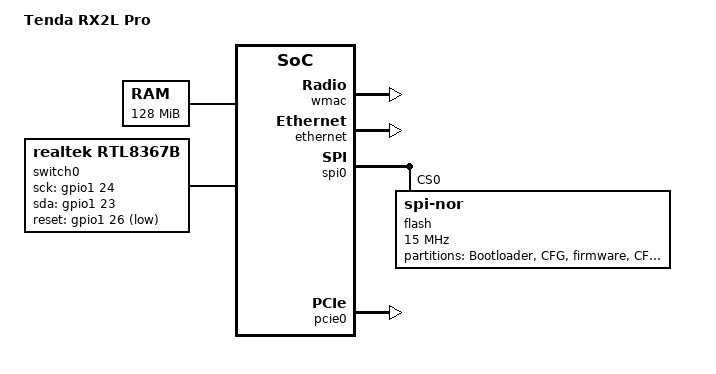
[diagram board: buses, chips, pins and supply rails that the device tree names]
// SPDX-License-Identifier: GPL-2.0
/*
 * Tenda RX2L Pro (label "RX2LProV1.0", internal board name AX2_PRO_V2)
 * Realtek RTL8197F, MIPS 24Kc little-endian.
 *
 * VARIANT A of two: kernel 6.18 / target linux/rtl819x (base "A", the
 * openwrt-rx23302 tree) with the EXTERNAL gigabit switch driven by the
 * swconfig driver drivers/net/phy/rtl8367b.c.
 *
 * The sibling file rtl8197f_tenda_rx2lpro_dsa66.dts describes the same board
 * for the 6.6 / DSA route (base "B", tobyw121/Openwrt_RTL). Pick one; they are
 * mutually exclusive because the gpio cell numbering and the LAN/WAN naming in
 * /etc/config/network differ. See gpio-numbering.md and
 * switch-driver-analysis.md in this directory.
 *
 * ---------------------------------------------------------------------------
 * EVIDENCE FOR EVERY NUMBER BELOW (all from dumps of THIS unit, no sibling
 * board was copied):
 *
 *   /tmp/rx_dump/pulled/info.txt        cmdline "console=ttyS0,115200
 *                                       root=/dev/mtdblock4", /proc/mtd,
 *                                       /proc/partitions, "spi:m25p80"
 *   /tmp/rx_dump/flash/mtdlayout.txt    per-mtd name/size/offset in DECIMAL
 *                                       from /sys/class/mtd/mtdN (name, size,
 *                                       offset) -- the partition table below
 *   /tmp/rx_dump/logs/syslog/sys_info.log:370
 *                                       MemTotal 115744 kB -> 128 MiB
 *   /tmp/rx_dump/logs/syslog/sys_info.log:496-512
 *                                       /proc/interrupts: "4 MIPS eth0",
 *                                       "5 MIPS rtk_wifi6", "6 MIPS wlan1"
 *   /tmp/rx_dump/flash/mtd2_CFG.bin     TENDA.lan_mac= at +0x22d, its 17-byte
 *                                       ASCII value at +0x23b
 *   /tmp/rx_dump/rootfs/x/etc_ro/gpio_conf
 *                                       green LED gpio_id 54, red LED
 *                                       gpio_id 57, reset+wps button gpio_id 33
 *   /tmp/rx_dump/rootfs/x/etc_ro/eth_to_port_config.txt, .../default.cfg,
 *   /tmp/rx_dump/RouterCfm.cfg          jack -> switch port map, lanvlan 1
 *                                       0x15d 0x40, wanvlan1 2 0x142 0x40,
 *                                       cpu1.phyid=6, cpu2.phyid=8
 *   /tmp/work4/uboot_gz.bin +0x6a68/+0x6c34
 *                                       our own U-Boot ORs 0x03300000 into the
 *                                       mux register at 0xB8000034 (the SMI
 *                                       pin mux; same encoding as toby's
 *                                       "pinctrl-single,bits = <0x34 0x03300000
 *                                       0x0ff00000>")
 * ---------------------------------------------------------------------------
 */

/dts-v1/;

#include "RTL8197F.dtsi"

#include <dt-bindings/gpio/gpio.h>
#include <dt-bindings/input/input.h>

/ {
	/*
	 * The FIRST string here becomes /tmp/sysinfo/board_name on this base
	 * (package/base-files/files/lib/preinit/02_sysinfo: `strings
	 * /proc/device-tree/compatible | head -1`), and that is what the
	 * board.d scripts and the upgrade path match on:
	 *   - etc/board.d/02_network: interfaces + the per-unit MAC read out of
	 *     the CFG partition;
	 *   - lib/upgrade/platform.sh: the "cr6c" magic gate before a sysupgrade.
	 * Change this string and both silently stop matching -- the MAC would
	 * never be set and the image check would fall through to "accept
	 * anything". There is no realtek_board_detect() on this base any more
	 * (the 4.14 target wrote board_name from /proc/cpuinfo; nothing calls it
	 * now), so the DTS is the single source of truth.
	 * model = "Tenda RX2L Pro" above is only cosmetic (/tmp/sysinfo/model).
	 */
	compatible = "tenda,rx2l-pro", "tenda,ax2-pro-v2", "realtek,rtl8197f-soc";
	model = "Tenda RX2L Pro";

	aliases {
		serial0 = &serial0;
	};

	/*
	 * 128 MiB. Measured, not inherited: stock /proc/meminfo says
	 * MemTotal 115744 kB, which is 128 MiB minus the kernel's own
	 * reservations (SDMA/phytd buffers, page tables, kmsg). Do NOT write
	 * 0x7000000 here because 115744 kB looks like 113 MiB -- that number is
	 * what is left over, not what is on the board. The neighbouring
	 * RTL8197F designs (RX23302, AC23) ship 64 MiB; this one does not, and
	 * taking their value would halve our RAM for nothing.
	 */
	memory@0 {
		device_type = "memory";
		reg = <0x0 0x8000000>;
	};

	chosen {
		/*
		 * console=ttyS0,115200 -- read straight off this board's
		 * /proc/cmdline (info.txt). 115200, not the 38400 the
		 * RX23302 base uses.
		 *
		 * root= is deliberately NOT set: stock passes
		 * root=/dev/mtdblock4 and OpenWrt finds its squashfs through
		 * mtdsplit instead. Carrying the stock root= over would pin us
		 * to a mtd index that our own partition node changes.
		 *
		 * Hardware NAT is deliberately NOT armed from the command line
		 * either (no `hwnat=1`): on this SoC family enabling the ASIC
		 * path before the tables are warm breaks the datapath, so it is
		 * armed from userspace after the switch comes up.
		 */
		bootargs = "console=ttyS0,115200";
		stdout-path = "serial0:115200n8";
	};

	/*
	 * -----------------------------------------------------------------
	 * LEDs and keys are DELIBERATELY left out and both children are
	 * status = "disabled". Read gpio-numbering.md before enabling them.
	 *
	 * Stock /etc_ro/gpio_conf drives them through the vendor
	 * /sys/devices/virtual/misc/ugw_gpio/gpio_base/ catalog and names the
	 * lines by the vendor BSP_GPIO index, which is NOT the number the
	 * kernel gpio chip in this base uses:
	 *
	 *   green "sys" LED   gpio_index 0  gpio_id 54   -> H? see below
	 *   red LED           gpio_index 7  gpio_id 57   -> PEFGH bit 25
	 *   reset button      gpio_index 32 gpio_id 33   -> PEFGH bit 1
	 *   wps button        gpio_index 33 gpio_id 33   -> PEFGH bit 1 (same!)
	 *
	 * The decoded mapping (proof chain in gpio-numbering.md) is
	 * line = port*8 + pin with A=0..H=7, and this base splits that space
	 * into two 32-line chips: line < 32 -> &gpio0 <line>, line >= 32 ->
	 * &gpio1 <line - 32>. So 54 -> &gpio1 22 (G6), 57 -> &gpio1 25 (H1),
	 * 33 -> &gpio1 1 (E1).
	 *
	 * Two things must be true before these nodes are switched on:
	 *   1. 54/57 are outputs of the vendor LED *pattern* engine
	 *      (freq/pattern/start), i.e. the hardware blinks them; a plain
	 *      gpio-leds node takes the line over and the stock timer effect
	 *      disappears. That is acceptable, but it means the stock values
	 *      only prove the lines are outputs, never their polarity. Assume
	 *      ACTIVE_LOW (both RX23302 and AC23 Tenda boards use active-low
	 *      LEDs on this SoC) and confirm with a multimeter or by watching
	 *      the lamp before trusting default-state = "on".
	 *   2. Line 33 (port E1) is not a free GPIO pad by default. The
	 *      RX23302 note for the same line reads "пин E1 не отдаётся без
	 *      pinmux" -- E1 stays on its peripheral function until the sysc
	 *      mux register says otherwise, and we do not know which mux field
	 *      covers it. Enabling this node blind can therefore do nothing at
	 *      all, or steal a peripheral.
	 *
	 * And the real reason for "disabled": on the reference board an LED
	 * node on the wrong pin held the external switch in reset. Getting
	 * the switch up matters more than getting the lamps up.
	 * -----------------------------------------------------------------
	 */
	leds: leds {
		compatible = "gpio-leds";
		status = "disabled";

		// Kept as the intended shape, commented so nothing probes it.
		// Line numbers are the vendor BSP_GPIO index from gpio_conf;
		// the cell values are this base's numbering.
		//
		// led_green: sys {
		//         label = "green:status";
		//         gpios = <&gpio1 22 GPIO_ACTIVE_LOW>;   // line 54
		//         default-state = "on";
		// };
		// led_red: red {
		//         label = "red:internet";
		//         gpios = <&gpio1 25 GPIO_ACTIVE_LOW>;   // line 57
		// };
	};

	keys: keys {
		compatible = "gpio-keys-polled";
		poll-interval = <20>;
		status = "disabled";

		// Stock registers ONE physical line (gpio_id 33, port E1) under
		// two catalog slots, reset_btn at index 32 and wps_btn at index
		// 33, with different act_time (80 vs 5). That is the classic
		// Tenda combined Reset/WPS button: short press = WPS, long
		// press = reset. One device tree button, not two.
		//
		//         reset {
		//                 label = "reset";
		//                 gpios = <&gpio1 1 GPIO_ACTIVE_LOW>;  // line 33, E1
		//                 linux,code = <KEY_RESTART>;
		//                 debounce-interval = <60>;
		//         };
		//
		// Polled, not interrupt-driven: the interrupt path of this
		// gpio chip is untested on RTL8197F (the RX23302 board says the
		// same), and gpio-keys-polled cannot be wrong about an edge.
	};

	/*
	 * On-SoC 2.4 GHz WMAC. This base's RTL8197F.dtsi has no wmac node (the
	 * RX23302 board does not use it), so it is declared here at the vendor
	 * address BSP_WLAN_BASE 0xB8064000 -> cached 0x18640000.
	 *
	 * IRQ 6 is measured on THIS board, not borrowed: /proc/interrupts shows
	 *   "6: 4711710 MIPS 6 wlan1"
	 * and stock calls its 2.4 GHz interface wlan1 (the 5 GHz RTL8832BR is
	 * wlan0 on IRQ 5). Note that is the reverse of the comment in
	 * files/target/linux/realtek/base-files/etc/board.d/02_network, which
	 * assigns CFG+0x5a5 wlan0_mac to 2.4 GHz; CFG+0x5a5 is
	 * ...:C4 and the live EasyMesh report in kmsg calls ...:C4 the 5gMac,
	 * so wlan0 = 5 GHz and wlan1 = 2.4 GHz. Flagged in REPORT.md for the
	 * usersland track.
	 */
	wmac: wifi@18640000 {
		compatible = "realtek,rtl8197f-wmac";
		reg = <0x18640000 0x40000>;
		interrupt-parent = <&cpuintc>;
		interrupts = <6>;
		/*
		 * Enabled because it is harmless either way: with no driver
		 * bound to this compatible nothing happens, and the 6.18
		 * rtl8192fe HAL that the base uses for 2.4 GHz claims the radio
		 * by PCI ID (10ec:818c / f192 / 8193 / 8179 / f812) rather than
		 * by of_match, so this node is the address/IRQ bookkeeping that
		 * the HAL will want when it grows a DT path.
		 */
		status = "okay";
	};

	/*
	 * =====================================================================
	 * External gigabit switch, swconfig route (rtl8367b.c, "switch0").
	 * =====================================================================
	 *
	 * WHAT WE KNOW ABOUT OUR CHIP
	 * Our U-Boot carries the vendor Switch v1.4 SDK with the strings
	 * "8367C" and "8367D" and the calls
	 *   rtk_port_rgmiiDelayExt_set(logical_cpu_port, TX_DELAY, RX_DELAY)
	 *   rtk_port_macForceLinkExt_set(logical_cpu_port, mode, &mac_cfg)
	 *   rtk_cpu_tagPort_set(logical_cpu_port, CPU_INSERT_TO_NONE)
	 * so the CPU trunk is an *external interface* (EXTIF), not a GPHY, and
	 * the exact silicon is still not settled offline. rtl8367b.c tells us
	 * apart at runtime by reading register 0x1300 (chip number) and 0x1301
	 * (chip version) after poking the magic 0x0249 into 0x13c2:
	 *
	 *   ver 0x1000          -> 8367RB      ver 0x1010 -> 8367R-VB
	 *   num 0x6367 ver 0x0020 -> 8367RB-VB num 0x6367 ver 0x00A0 -> 8367S
	 *   num 0x6642 ver 0x0010 -> 8367S-VB  num 0x6642 ver 0x0030 -> 8367D
	 *
	 * SMI LINES
	 * MDC = SDK H0, MDIO = SDK G7, reset = H2. Those are vendor lines
	 * 56/55/58, and in this base's two-chip numbering they are &gpio1
	 * 24/23/26 -- exactly what the RX23302 board, which has the same SMI
	 * wiring verified on hardware, uses. Our own U-Boot writes 0x03300000
	 * into the mux register at 0xB8000034, which is the same pin-mux
	 * programming the sibling Tenda boards encode as
	 * <0x34 0x03300000 0x0ff00000>; this base has no pinctrl-single driver
	 * and its gpio driver clears the CNR bit itself, so the property is
	 * carried below as inert documentation (see the note on
	 * realtek,smi-pinmux-bits) rather than as a fake pinctrl node.
	 *
	 * CPU PORT
	 * Port 6. Proof from stock userspace, not from a neighbour's board:
	 * every VLAN line in default.cfg carries the untagged mask 0x40 = bit
	 * 6 -- lanvlan "1 0x15d 0x40", wanvlan1 "2 0x142 0x40" -- and
	 * RouterCfm.cfg states cpu1.phyid=6 (cpu2.phyid=8 is the SoC's own
	 * rtl865x CPU interface). For rtl8367b.c, RTL8367B_CPU_PORT_NUM is 5,
	 * so cpu_port 6 selects EXTIF1, which is also what the toby AC23 board
	 * concludes from the same 0x40 descriptor bit.
	 */
	switch0: switch {
		compatible = "realtek,rtl8367b";

		/* Bit-banged SMI on the gpio lines above. ACTIVE_HIGH is
		 * correct here: these are driven as raw open-drain-ish clock
		 * and data lines by rtl8366_smi.c with gpiod_set_raw_value(),
		 * so the polarity handle is only a direction hint. */
		sck-gpios = <&gpio1 24 GPIO_ACTIVE_HIGH>;	/* line 56, H0, MDC */
		sda-gpios = <&gpio1 23 GPIO_ACTIVE_HIGH>;	/* line 55, G7, MDIO */
		reset-gpios = <&gpio1 26 GPIO_ACTIVE_LOW>;	/* line 58, H2, ~RESET */

		realtek,cpu-port = <6>;

		/* Inert documentation of the vendor pin mux, see the note
		 * above. On the 6.6/DSA variant this becomes a real
		 * &pinmux + pinctrl-0 property that the driver consumes.
		 */
		realtek,smi-pinmux-bits = <0x34 0x03300000 0x0ff00000>;

		/*
		 * Required by rtl8367b.c on every chip EXCEPT RTL8367D:
		 * rtl8367b_extif_init_of() reads "realtek,extif" and fails with
		 * -EINVAL if it is absent or is not exactly 10 cells. Order is
		 *   <cpu_port txdelay rxdelay mode force_mode txpause rxpause
		 *    link duplex speed>
		 * with mode 1 = RTL8367_EXTIF_MODE_RGMII, speed 2 = 1000 Mbps
		 * (RTL8367_PORT_SPEED_1000), and txdelay/rxdelay written to
		 * 0x1307 (EXT_RGMXF1): TX is a single bit at position 3, RX is
		 * 3 bits at 0..7. The sibling RTL8367C boards state the RX
		 * field is 300 ps per step, so rxdelay 5 = 1500 ps, the same
		 * final value those boards use for the RGMII CPU trunk.
		 *
		 * Ignored if detect reports RTL8367D -- see init-regs below.
		 */
		realtek,extif = <6 0 5 1 1 1 1 1 1 2>;

		/*
		 * realtek,init-regs is INTENTIONALLY NOT IN THIS TREE.
		 *
		 * rtl8367b_init_post() applies it unconditionally, on both
		 * code paths: for an RB/R-VB/S/S-VB/RB-VB chip it lands on top
		 * of rtl8367b_initvals[]/rtl8367c_initvals[], and for an
		 * RTL8367D chip on top of rtl8367d_chip_init(). A table
		 * captured for a 8367D board therefore CORRUPTS an RB board and
		 * vice versa, and we have not yet identified our silicon. The
		 * RX23302 board (a verified 8367D, num 0x6642 ver 0x0030)
		 * carries about 140 pairs of these, including RGMII force-link,
		 * MAC-to-extif assignment, CPU tag and LED registers.
		 *
		 * How to obtain ours, read-only, on the stock kernel before
		 * this variant is built -- see REPORT.md item 1:
		 *   cat /proc/rtl865x/rtl_8367_chip_type      (which chip)
		 *   echo 8367read <reg> > /proc/rtl865x/...   (register dump)
		 *
		 * Until then the honest content is the derivation sketch, kept
		 * commented so dtc ignores it:
		 *
		 * realtek,init-regs = <
		 *   // 1. EXTIF1 as RGMII, forced 1000/full, RX delay 5 steps
		 *   //    DIS reg 0x1305: extif1 field = bits 7:4 (shift 4*1),
		 *   //    value 1 = RTL8367_EXTIF_MODE_RGMII -> 0x0010
		 *   0x1305 0x0010   0x1311 0x1076   0x1307 0x0005
		 *   //    0x1311 = DI_FORCE_REG(1): FORCE_MODE|TXPAUSE|RXPAUSE|
		 *   //    LINK|DUPLEX|SPEED_1000 = 0x1076, which is exactly the
		 *   //    pair the RX23302 board's captured table writes
		 *   // 2. MAC6 -> EXTIF1 (0x1d70-style MAC-select on the D
		 *   //    family; on the RB family this is already in the
		 *   //    driver's own table, hence "check against detect")
		 *   // 3. CPU tag: none (rtk_cpu_tagPort_set(.., CPU_INSERT_TO_NONE)
		 *   //    in our U-Boot), so the 4-byte tag path stays off
		 *   // 4. LED: lanvlan/wanvlan1 untag mask 0x40 says jacks are
		 *   //    driven by the switch, LED group mask over ports 0-4
		 * >;
		 */
	};
};

/*
 * This base's RTL8197F.dtsi ships both gpio chips disabled. The SMI bus is
 * pure bit-banged gpio with no pinctrl driver here, so "okay" is all it takes.
 */
&gpio0 {
	status = "okay";
};

&gpio1 {
	status = "okay";
};

/*
 * The SoC CPU interface. In this base rtl819x-eth.c is a PHYLINK driver with
 * an internal rtl865x switch core, .cpu_port = 8, and it reaches the external
 * RTL8367 through ONE internal port whose number it hard-codes for the board
 * it was written against (its comments say "внутренний RTL8367D сидит на
 * внутреннем порту 0" and mask 0x08/0x10 per jack). That is a driver-side
 * change, not a device-tree one -- flagged in REPORT.md for the 04-eth-hwnat
 * track, because on OUR topology the external switch hangs off the RGMII
 * trunk the descriptor DP bits below select, and those bits are what the
 * vendor SDK uses.
 */
&ethernet {
	status = "okay";

	/*
	 * Carried so the two variants state the same datapath; rtl819x-eth.c
	 * in this base does not parse them (the equivalent is compiled in),
	 * while the 6.6 rtl8_4 DSA path does. Unknown properties are ignored,
	 * so this documents rather than configures here.
	 *
	 * Values from stock: the untagged/trunk mask 0x40 = TD_DP bit 6 (the
	 * 0x40 third field of lanvlan/wanvlan1), TD_DP_EXT bit 1 = 0x2 and
	 * EXTSPA 0 -- the same triple toby's AC23/Lynx boards state for the
	 * RTL8367 EXT1 CPU path. NOT the RD05/Xiaomi value 0x1, which is the
	 * port-7/EXT1 layout.
	 */
	realtek,tx-port-mask = <0x40>;
	realtek,tx-dp-ext = <0x2>;
	realtek,tx-extspa = <0>;
};

&spi0 {
	status = "okay";

	flash@0 {
		#address-cells = <1>;
		#size-cells = <1>;
		compatible = "jedec,spi-nor";
		reg = <0>;

		/*
		 * 15 MHz, the value the RX23302 board measured to be the
		 * highest that reads correctly on THIS spi-sheipa driver:
		 * the controller computes its divider as ceil(105 MHz / freq),
		 * so asking for 41 MHz yields a real 35 MHz and the auto-mapped
		 * reads come back garbled -- the kernel then cannot find its
		 * squashfs where the boot loader reads it fine. Our own 4.14
		 * tree says 41000000 and boots, which is why this is a "safe
		 * first value, re-measure" decision for the image track, not a
		 * fact about our flash.
		 */
		spi-max-frequency = <15000000>;

		/*
		 * The wrapper node is required: without a
		 * compatible = "fixed-partitions" child the kernel makes up
		 * its own partitions by parsing and the nvmem cells below have
		 * no device-tree node to live on.
		 */
		partitions {
			compatible = "fixed-partitions";
			#address-cells = <1>;
			#size-cells = <1>;

			/*
			 * Labels and offsets are the STOCK map, taken from
			 * /sys/class/mtd (mtdlayout.txt) and /proc/mtd
			 * (info.txt), converted to hex. Erase size is 0x10000
			 * on every device.
			 *
			 *   mtd0 ALL        0x000000 .. 0xff0000  (16 MiB window)
			 *   mtd1 Bootloader 0x000000 +0x030000
			 *   mtd2 CFG        0x030000 +0x010000
			 *   mtd3 KernelFS   0x040000 +0xf80000
			 *   mtd4 RootFS     0x400812 +0xbbf7ee   <-- INSIDE mtd3
			 *   mtd5 CFM        0xfc0000 +0x010000
			 *   mtd6 CFM_BACKUP 0xfd0000 +0x010000
			 *   mtd7 MISC2      0xfe0000 +0x010000
			 *
			 * Two consequences that are easy to get wrong:
			 *  - RootFS is NOT a sibling partition, it is the
			 *    squashfs window the vendor parser found inside
			 *    KernelFS (0x400812 is not erase-aligned). It must
			 *    not be declared here; mtdsplit recreates it.
			 *  - The flash is a ~16 MiB part, not the 8 MiB that
			 *    FACTS.md section 1 says. KernelFS alone is 0xf80000.
			 *
			 * NOTE for the image track: OpenWrt's mtdsplit triggers
			 * on a partition *named* "firmware". Keeping the stock
			 * label "KernelFS" here preserves the vendor naming
			 * (and the sysupgrade SUPPORTED_DEVICES check reads
			 * labels, not names); if we rely on the generic
			 * squashfs splitter instead of our own cvimg parser,
			 * rename the label to "firmware" -- do not add a
			 * compatible to that partition, which would suppress
			 * the split.
			 */
			partition@0 {
				label = "Bootloader";
				reg = <0x000000 0x030000>;
				/* XIP at 0xb0000000; holds stage-1 + U-Boot and
				 * the strap that gates disaster_web recovery.
				 * Bricking this is unrecoverable without an
				 * SOIC clip.
				 */
				read-only;
			};

			partition@30000 {
				label = "CFG";
				reg = <0x030000 0x010000>;
				read-only;

				/*
				 * Per-unit identity lives here as ASCII
				 * key=value lines, NOT as a binary MAC block.
				 * Measured on mtd2_CFG.bin:
				 *   +0x22d  "TENDA.lan_mac="          (14 chars)
				 *   +0x23b  the 17-byte MAC text itself
				 *   +0x5a5  TENDA.wlan0_mac  (5 GHz)
				 *   +0x5c7  TENDA.wlan1_mac  (2.4 GHz)
				 *
				 * Why there is no compatible = "mac-base"
				 * cell here, which the brief expected: an
				 * nvmem mac cell is consumed by
				 * of_get_mac_address_nvmem() (called by
				 * rtl819x-eth.c at line 2044 of the 6.18 base)
				 * as exactly ETH_ALEN raw bytes. This board
				 * stores the address as twelve hex digits plus
				 * five colons, and I searched all five dumped
				 * partitions (mtd1/2/5/6/7) for the 6-byte
				 * binary form of this unit's address, forward
				 * and reversed, and it appears NOWHERE. A
				 * mac-base cell over 0x23b would therefore
				 * hand the driver the first six ASCII
					 * characters of the address text (xx:xx:) -- a
				 * syntactically valid, globally wrong MAC.
				 *
				 * So the cell below is declared as plain
				 * bytes for whoever wants to parse them, and
				 * the real extraction stays where it is
				 * already correct and proven: the ASCII read
				 * in board.d/02_network. Settling this for
				 * good needs one read-only command on the
				 * device, see REPORT.md item 2.
				 */
				nvmem-layout {
					compatible = "fixed-layout";
					#address-cells = <1>;
					#size-cells = <1>;

					lan_mac_ascii: lan-mac-ascii@23b {
						reg = <0x23b 0x11>;	/* 17 ASCII bytes */
					};

					wlan2g_mac_ascii: wlan2g-mac-ascii@5d7 {
						/* "TENDA.wlan1_mac=" at +0x5c7,
						 * value at +0x5c7+16 = +0x5d7 */
						reg = <0x05d7 0x11>;
					};

					wlan5g_mac_ascii: wlan5g-mac-ascii@5b5 {
						/* "TENDA.wlan0_mac=" at +0x5a5,
						 * value at +0x5a5+16 = +0x5b5 */
						reg = <0x05b5 0x11>;
					};
				};
			};

			/* Everything the boot loader is allowed to jump to:
			 * the cr6c container (16-byte header, LZMA payload,
			 * 2-byte BE-u16 checksum, squashfs) and the overlay
			 * after it. Single bank -- stock has no KernelFS1/2,
			 * so there is no dual-bank rollback.
			 */
			/* NOTE: the vendor calls this partition "KernelFS"
			 * (mtd3, 0x40000..0xfc0000) and its own flasher
			 * resolves it by that name. Here it must be
			 * "firmware", and two independent consumers enforce
			 * it:
			 *   - the kernel splitter runs only on a partition
			 *     whose name equals
			 *     CONFIG_MTD_SPLIT_FIRMWARE_NAME, which is
			 *     "firmware" in the generic config. Miss it and
			 *     nothing is split, mount_root finds no rootfs,
			 *     and boot dies at "Unable to mount root fs on
			 *     unknown-block(0,0)";
			 *   - base-files/lib/upgrade/platform.sh sets
			 *     PART_NAME=firmware and writes sysupgrade there.
			 * Renaming it here without changing BOTH of those is
			 * a silent brick, not a cosmetic change. The install
			 * path in notes/install-runbook.md uses the vendor
			 * flasher on the STOCK system, where the name is
			 * still KernelFS, so nothing there is affected.
			 */
			partition@40000 {
				label = "firmware";
				reg = <0x040000 0xf80000>;
			};

			partition@fc0000 {
				label = "CFM";
				reg = <0xfc0000 0x010000>;
				read-only;
			};

			partition@fd0000 {
				label = "CFM_BACKUP";
				reg = <0xfd0000 0x010000>;
				read-only;
			};

			partition@fe0000 {
				label = "MISC2";
				reg = <0xfe0000 0x010000>;
				read-only;
			};
		};
	};
};

/*
 * PCIe root complex for the 5 GHz RTL8832BR.
 *
 * Enabled and measured. The unit's own /proc/interrupts (captured in the stock
 * syslog dump) reads
 *
 *     4:       0  MIPS  4  eth0
 *     5:  968696  MIPS  5  rtk_wifi6     <- the 5 GHz card, behind this bus
 *     6: 4711710  MIPS  6  wlan1         <- the 2.4 GHz WMAC, not behind it
 *     7:  661731  MIPS  7  timer
 *
 * and this base's RTL8197F.dtsi wires pcie0 to interrupts = <5> (BSP_PCIE_IRQ
 * base + 5). So IRQ 5 is the card and IRQ 6 is the on-SoC radio, which is why
 * enabling CONFIG_PCI cannot disturb the 2.4 GHz path.
 *
 * The reference clock is the 40 MHz fixed-clock already in RTL8197F.dtsi
 * (read from 0xB8000008 bit 24 on that board; re-confirm for ours before
 * trusting any RGMII/PERST timing that depends on it).
 *
 * RTL8832BR is NOT supported by mainline rtw89 (which knows 8851B/8852A/B/BT/C
 * and 8922A/D), so no in-tree driver claims this card on either base; the
 * 5 GHz path is track 06's problem.
 *
 * The card's ID is known now: 10ec:b832, read out of the stock kernel's own
 * pci_device_id table at 0xb7787c (b814 sits at 0xb77860 and 0192 at
 * 0xb77890, so the table is unambiguous). No child node is needed for it
 * anyway -- the bus enumerates the function from config space, and the shape
 * below is kept only to document what a node would look like if a driver ever
 * needed properties. Baking the ID in would add nothing and could go stale.
 */
&pcie0 {
	status = "okay";

	/*
	 * wifi@0,0 {
	 *         compatible = "pci10ec,<DEVICE-ID-FROM-lspci-nn>";
	 *         reg = <0x00000000 0 0 0 0>;
	 * };
	 */
};
